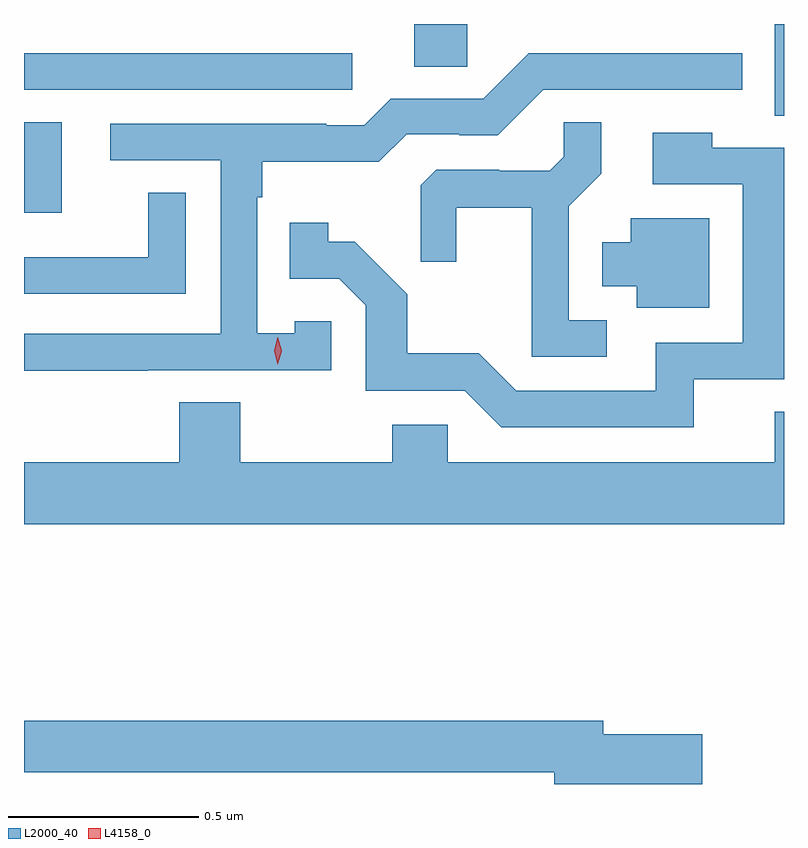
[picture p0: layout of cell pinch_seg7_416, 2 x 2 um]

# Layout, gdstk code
import gdstk
lib = gdstk.Library(unit=1e-6, precision=1e-09)
def R(c, l, rs):  # rectangles x0, y0, x1, y1
    for r in rs: c.add(gdstk.rectangle(r[:2], r[2:], *l))
def P(c, l, *ps):  # polygons
    for p in ps: c.add(gdstk.Polygon(p, *l))
L2000_40 = (2000, 40)
L4158_0 = (4158, 0)

pinch_seg7_416 = lib.new_cell('pinch_seg7_416')
R(pinch_seg7_416, L2000_40, [(544.678,1012.092,544.777,1012.331), (546.653,1012.348,546.678,1012.589), (544.678,1012.416,545.542,1012.512), (545.705,1012.477,545.844,1012.589)])
P(pinch_seg7_416, L2000_40, [(545.003,1011.678),(545.487,1011.678),(545.487,1011.807),(545.391,1011.807),(545.391,1011.775),(545.292,1011.775),(545.292,1012.133),(545.305,1012.133),(545.305,1012.226),(545.612,1012.226),(545.685,1012.299),(545.824,1012.299),(545.824,1012.296),(545.925,1012.296),(546.045,1012.416),(546.568,1012.416),(546.568,1012.512),(546.006,1012.512),(545.886,1012.392),(545.643,1012.392),(545.574,1012.323),(545.474,1012.323),(545.474,1012.326),(544.905,1012.326),(544.905,1012.23),(545.196,1012.23),(545.196,1011.774),(544.678,1011.774),(544.678,1011.676),(545.003,1011.676)],
  [(546.211,1011.81),(546.111,1011.81),(546.111,1012.109),(546.197,1012.195),(546.197,1012.331),(546.099,1012.331),(546.099,1012.24),(546.062,1012.203),(545.928,1012.203),(545.928,1012.206),(545.763,1012.206),(545.722,1012.165),(545.722,1011.963),(545.816,1011.963),(545.816,1012.106),(546.014,1012.106),(546.014,1011.714),(546.211,1011.714)],
  [(546.44,1011.654),(546.678,1011.654),(546.678,1012.263),(546.489,1012.263),(546.489,1012.303),(546.333,1012.303),(546.333,1012.167),(546.57,1012.167),(546.57,1011.75),(546.341,1011.75),(546.341,1011.624),(545.973,1011.624),(545.875,1011.723),(545.686,1011.723),(545.686,1011.878),(545.548,1012.016),(545.478,1012.016),(545.478,1012.066),(545.377,1012.066),(545.377,1011.918),(545.508,1011.918),(545.577,1011.849),(545.577,1011.624),(545.838,1011.624),(545.934,1011.528),(546.44,1011.528)],
  [(545.103,1012.145),(545.005,1012.145),(545.005,1011.975),(544.678,1011.975),(544.678,1011.879),(545.103,1011.879)],
  [(546.481,1012.078),(546.275,1012.078),(546.275,1012.015),(546.2,1012.015),(546.2,1011.899),(546.29,1011.899),(546.29,1011.842),(546.481,1011.842)],
  [(546.678,1011.569),(546.653,1011.569),(546.653,1011.436),(545.793,1011.436),(545.793,1011.534),(545.647,1011.534),(545.647,1011.436),(545.247,1011.436),(545.247,1011.593),(545.087,1011.593),(545.087,1011.436),(544.678,1011.436),(544.678,1011.272),(546.678,1011.272)],
  [(546.463,1010.72),(546.202,1010.72),(546.202,1010.756),(544.678,1010.756),(544.678,1010.62),(546.074,1010.62),(546.074,1010.589),(546.463,1010.589)])
P(pinch_seg7_416, L4158_0, [(545.346,1011.693),(545.346,1011.693),(545.336,1011.729),(545.346,1011.765),(545.346,1011.765),(545.346,1011.765),(545.356,1011.729),(545.346,1011.693)])

lib.write_gds('pinch_seg7_416.gds')
